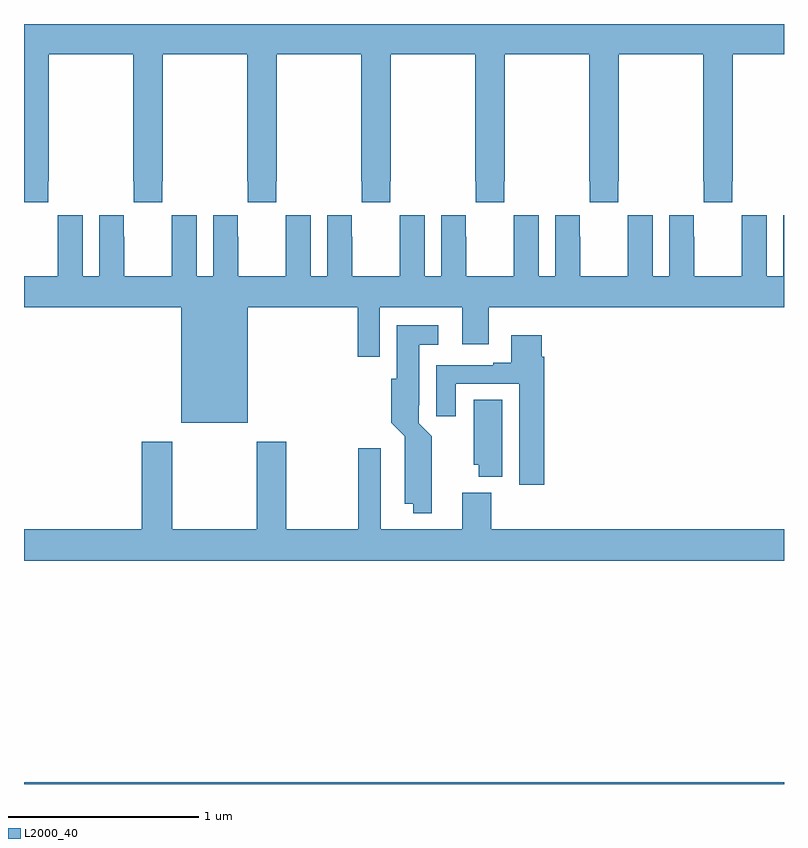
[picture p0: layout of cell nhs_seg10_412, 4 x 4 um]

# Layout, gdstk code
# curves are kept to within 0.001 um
import gdstk
lib = gdstk.Library(unit=1e-6, precision=1e-09)
def R(c, l, rs):  # rectangles x0, y0, x1, y1
    for r in rs: c.add(gdstk.rectangle(r[:2], r[2:], *l))
def P(c, l, *ps):  # polygons
    for p in ps: c.add(gdstk.Polygon(p, *l))
L2000_40 = (2000, 40)

nhs_seg10_412 = lib.new_cell('nhs_seg10_412')
R(nhs_seg10_412, L2000_40, [(131,1272.5,135,1272.508)])
P(nhs_seg10_412, L2000_40, [(131.127,1275.673),(131.13,1275.673),(131.13,1276.34),(131.575,1276.34),(131.575,1275.673),(131.577,1275.673),(131.577,1275.561),(131.727,1275.561),(131.727,1275.673),(131.73,1275.673),(131.73,1276.34),(132.175,1276.34),(132.175,1275.673),(132.177,1275.673),(132.177,1275.561),(132.327,1275.561),(132.327,1275.673),(132.33,1275.673),(132.33,1276.34),(132.775,1276.34),(132.775,1275.673),(132.777,1275.673),(132.777,1275.561),(132.927,1275.561),(132.927,1275.673),(132.93,1275.673),(132.93,1276.34),(133.375,1276.34),(133.375,1275.673),(133.377,1275.673),(133.377,1275.561),(133.527,1275.561),(133.527,1275.673),(133.53,1275.673),(133.53,1276.34),(133.975,1276.34),(133.975,1275.673),(133.977,1275.673),(133.977,1275.561),(134.127,1275.561),(134.127,1275.673),(134.13,1275.673),(134.13,1276.34),(134.575,1276.34),(134.575,1275.673),(134.577,1275.673),(134.577,1275.561),(134.727,1275.561),(134.727,1275.673),(134.73,1275.673),(134.73,1276.34),(135,1276.34),(135,1276.5),(131,1276.5),(131,1275.561),(131.127,1275.561)],
  [(132.178,1275.008),(132.757,1275.008),(132.757,1274.748),(132.873,1274.748),(132.873,1275.008),(133.307,1275.008),(133.307,1274.814),(133.447,1274.814),(133.447,1275.008),(135,1275.008),(135,1275.493),(134.996,1275.493),(134.996,1275.172),(134.908,1275.172),(134.908,1275.493),(134.778,1275.493),(134.778,1275.38),(134.777,1275.38),(134.777,1275.172),(134.527,1275.172),(134.527,1275.38),(134.526,1275.38),(134.526,1275.493),(134.396,1275.493),(134.396,1275.172),(134.308,1275.172),(134.308,1275.493),(134.178,1275.493),(134.178,1275.38),(134.177,1275.38),(134.177,1275.172),(133.927,1275.172),(133.927,1275.38),(133.926,1275.38),(133.926,1275.493),(133.796,1275.493),(133.796,1275.172),(133.708,1275.172),(133.708,1275.493),(133.578,1275.493),(133.578,1275.38),(133.577,1275.38),(133.577,1275.172),(133.327,1275.172),(133.327,1275.38),(133.326,1275.38),(133.326,1275.493),(133.196,1275.493),(133.196,1275.172),(133.108,1275.172),(133.108,1275.493),(132.978,1275.493),(132.978,1275.38),(132.977,1275.38),(132.977,1275.172),(132.727,1275.172),(132.727,1275.38),(132.726,1275.38),(132.726,1275.493),(132.596,1275.493),(132.596,1275.172),(132.508,1275.172),(132.508,1275.493),(132.378,1275.493),(132.378,1275.38),(132.377,1275.38),(132.377,1275.172),(132.127,1275.172),(132.127,1275.38),(132.126,1275.38),(132.126,1275.493),(131.996,1275.493),(131.996,1275.172),(131.908,1275.172),(131.908,1275.493),(131.778,1275.493),(131.778,1275.38),(131.777,1275.38),(131.777,1275.172),(131.527,1275.172),(131.527,1275.38),(131.526,1275.38),(131.526,1275.493),(131.396,1275.493),(131.396,1275.172),(131.308,1275.172),(131.308,1275.493),(131.178,1275.493),(131.178,1275.38),(131.177,1275.38),(131.177,1275.172),(131,1275.172),(131,1275.008),(131.828,1275.008),(131.828,1274.402),(132.178,1274.402)],
  [(133.146,1274.228),(133.147,1274.33),(133.077,1274.4),(133.077,1274.494),(133.081,1274.494),(133.081,1274.813),(133.18,1274.813),(133.18,1274.914),(132.962,1274.914),(132.962,1274.634),(132.932,1274.634),(132.932,1274.402),(133.004,1274.33),(133.004,1273.976),(133.049,1273.976),(133.049,1273.925),(133.146,1273.925)],
  [(133.739,1274.75),(133.726,1274.75),(133.726,1274.863),(133.565,1274.863),(133.565,1274.716),(133.469,1274.716),(133.469,1274.703),(133.169,1274.703),(133.169,1274.436),(133.273,1274.436),(133.273,1274.607),(133.607,1274.607),(133.607,1274.076),(133.739,1274.076)],
  [(133.516,1274.522),(133.367,1274.522),(133.367,1274.181),(133.394,1274.181),(133.394,1274.117),(133.516,1274.117)],
  [(135,1273.84),(133.46,1273.84),(133.46,1274.032),(133.307,1274.032),(133.307,1273.84),(132.877,1273.84),(132.877,1274.266),(132.76,1274.266),(132.76,1273.84),(132.381,1273.84),(132.381,1274.302),(132.226,1274.302),(132.226,1273.84),(131.781,1273.84),(131.781,1274.302),(131.621,1274.302),(131.621,1273.84),(131,1273.84),(131,1273.676),(135,1273.676)])

lib.write_gds('nhs_seg10_412.gds')
